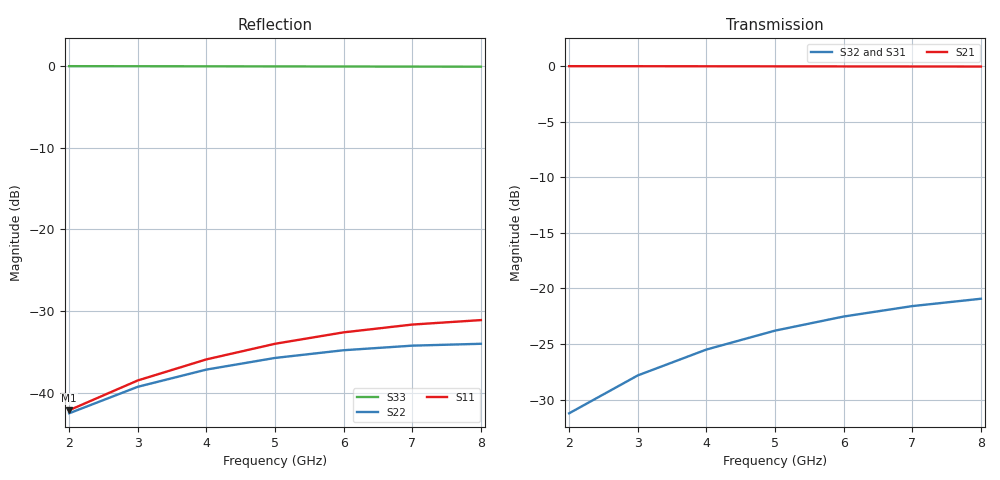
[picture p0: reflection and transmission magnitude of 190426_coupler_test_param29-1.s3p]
! Sonnet Data File
! From: emgraph Version : 16.56
! From Project: 190426_coupler_test
! Data is De-embedded
! Data File Written: 05/06/2019 15:59:44
!< HDATE 04/25/2019 10:48:44
!< MDATE 04/25/2019 10:59:35
!< PARAMS
!< tandelta = 0.0
!< t_aSi = 0.25
!< W = 10.0
!< Lcoupler = 2800.0
!< END PARAMS
# GHZ S MA R 50.0 !  non standard terminations in data
! TERM 50.00000 0.000000 50.00000 0.000000 63.84000 0.000000
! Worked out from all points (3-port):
!   7 points, 2 GHz to 8 GHz, reference 50 ohm
!   strongest paths, dB at 2 GHz, 3 GHz, 5 GHz, 7 GHz, 8 GHz:
!     S21: 0.0, 0.0, 0.0, 0.0, 0.0
!     S32: -31.2, -27.8, -23.8, -21.6, -20.9
!     S31: -31.3, -27.9, -23.9, -21.8, -21.1
!   lowest |S11| = -42.1 dB at 2 GHz (marker M1), VSWR 1.02, Z = 50.2 + j0.744 ohm
!   |S11| at or under -10 dB: start of sweep to end of sweep
2  0.00781 71.5  0.9996 -21.7  0.02732 47.0
   0.9996 -21.7  0.00748 70.0  0.02741 72.3
   0.02732 47.0  0.02741 72.3  0.9993 -39.4
3  0.01189 61.2  0.9991 -32.6  0.0403 25.5
   0.9991 -32.6  0.01087 60.1  0.04058 63.3
   0.0403 25.5  0.04058 63.3  0.9984 -59.1
4  0.016 49.8  0.9985 -43.4  0.05246 3.9
   0.9985 -43.4  0.01385 50.2  0.05306 54.2
   0.05246 3.9  0.05306 54.2  0.9972 -79.0
5  0.01994 37.4  0.9978 -54.3  0.06353 -17.6
   0.9978 -54.3  0.01633 40.3  0.06455 45.0
   0.06353 -17.6  0.06455 45.0  0.9959 -98.9
6  0.02342 24.1  0.997 -65.1  0.07325 -39.3
   0.997 -65.1  0.0182 30.5  0.07471 35.6
   0.07325 -39.3  0.07471 35.6  0.9945 -118.9
7  0.02615 9.9  0.9963 -75.9  0.08137 -60.9
   0.9963 -75.9  0.01942 20.8  0.08323 26.1
   0.08137 -60.9  0.08323 26.1  0.9932 -139.1
8  0.02784 -4.9  0.9958 -86.7  0.08769 -82.5
   0.9958 -86.7  0.01994 11.2  0.08982 16.5
   0.08769 -82.5  0.08982 16.5  0.9921 -159.3
